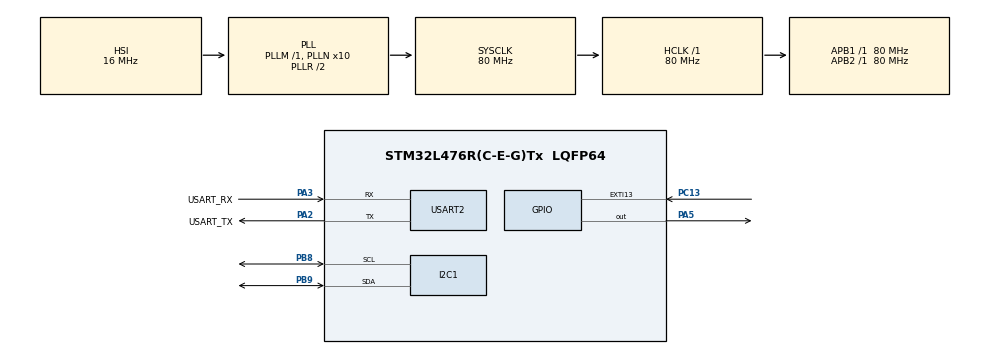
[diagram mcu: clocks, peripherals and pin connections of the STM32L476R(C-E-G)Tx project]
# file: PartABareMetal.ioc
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I2C1.Timing=0x10D19CE4
Mcu.Family=STM32L4
Mcu.Name=STM32L476R(C-E-G)Tx
Mcu.Package=LQFP64
NUCLEO-L476RG.BUTTON=1
NUCLEO-L476RG.LD2=true
NVIC.EXTI15_10_IRQn=true\:0\:0\:false\:false\:true\:false\:true\:true
NVIC.PriorityGroup=NVIC_PRIORITYGROUP_4
PA13\ (JTMS-SWDIO).GPIO_Label=TMS
PA13\ (JTMS-SWDIO).Signal=SYS_JTMS-SWDIO
PA14\ (JTCK-SWCLK).GPIO_Label=TCK
PA14\ (JTCK-SWCLK).Signal=SYS_JTCK-SWCLK
PA2.GPIO_Label=USART_TX
PA2.GPIO_Mode=GPIO_MODE_AF_PP
PA2.GPIO_PuPd=GPIO_NOPULL
PA2.GPIO_Speed=GPIO_SPEED_FREQ_VERY_HIGH
PA2.Mode=Asynchronous
PA2.Signal=USART2_TX
PA3.GPIO_Label=USART_RX
PA3.GPIO_Mode=GPIO_MODE_AF_PP
PA3.GPIO_PuPd=GPIO_NOPULL
PA3.GPIO_Speed=GPIO_SPEED_FREQ_VERY_HIGH
PA3.Mode=Asynchronous
PA3.Signal=USART2_RX
PA5.Signal=GPIO_Output
PB3\ (JTDO-TRACESWO).GPIO_Label=SWO
PB3\ (JTDO-TRACESWO).Signal=SYS_JTDO-SWO
PB8.Mode=I2C
PB8.Signal=I2C1_SCL
PB9.Mode=I2C
PB9.Signal=I2C1_SDA
PC13.Signal=GPXTI13
PC14-OSC32_IN\ (PC14).Signal=RCC_OSC32_IN
PC15-OSC32_OUT\ (PC15).Signal=RCC_OSC32_OUT
PH0-OSC_IN\ (PH0).Signal=RCC_OSC_IN
PH1-OSC_OUT\ (PH1).Signal=RCC_OSC_OUT
ProjectManager.HeapSize=0x200
ProjectManager.StackSize=0x400
ProjectManager.TargetToolchain=CMake
RCC.ADCFreq_Value=64000000
RCC.AHBFreq_Value=80000000
RCC.APB1Freq_Value=80000000
RCC.APB1TimFreq_Value=80000000
RCC.APB2Freq_Value=80000000
RCC.APB2TimFreq_Value=80000000
RCC.CortexFreq_Value=80000000
RCC.HCLKFreq_Value=80000000
RCC.HSE_VALUE=8000000
RCC.HSI_VALUE=16000000
RCC.LSE_VALUE=32768
RCC.MSI_VALUE=4000000
RCC.PLLN=10
RCC.PLLSourceVirtual=RCC_PLLSOURCE_HSI
RCC.PREFETCH_ENABLE=1
RCC.SYSCLKFreq_VALUE=80000000
RCC.SYSCLKSource=RCC_SYSCLKSOURCE_PLLCLK
RCC.USBFreq_Value=64000000
RCC.VCOOutputFreq_Value=160000000
USART2.VirtualMode-Asynchronous=VM_ASYNC
VP_NUCLEO-L476RG_VS_BSP_COMMON.Mode=COMMON
board=NUCLEO-L476RG

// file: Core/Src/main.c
/* USER CODE BEGIN Header */
/**
  ******************************************************************************
  * @file           : main.c
  * @brief          : Main program body
  ******************************************************************************
  * @attention
  *
  * Copyright (c) 2026 STMicroelectronics.
  * All rights reserved.
  *
  * This software is licensed under terms that can be found in the LICENSE file
  * in the root directory of this software component.
  * If no LICENSE file comes with this software, it is provided AS-IS.
  *
  ******************************************************************************
  */
/* USER CODE END Header */
#include "main.h"

/* USER CODE BEGIN Includes */
#include <stdio.h>
#include <string.h>
/* USER CODE END Includes */

/* USER CODE BEGIN PD */
#define TMP3_ADDR 0x48 << 1 // I2C address of TMP3 sensor
#define REG_TEMP 0x00      // Register address for temperature data
#define TMP3_RESOLUTION 0.0625f // Temperature resolution in °C/bit
/* USER CODE END PD */

I2C_HandleTypeDef hi2c1;

UART_HandleTypeDef huart2;

void SystemClock_Config(void);
static void MX_GPIO_Init(void);
static void MX_I2C1_Init(void);
static void MX_USART2_UART_Init(void);
/* USER CODE BEGIN PFP */
float TEMP3_ReadTemp(void);
/* USER CODE END PFP */

int main(void)
{

  /* MCU Configuration--------------------------------------------------------*/

  /* Reset of all peripherals, Initializes the Flash interface and the Systick. */
  HAL_Init();

  /* Configure the system clock */
  SystemClock_Config();

  /* Initialize all configured peripherals */
  MX_GPIO_Init();
  MX_I2C1_Init();
  MX_USART2_UART_Init();

  /* Initialize leds */
  BSP_LED_Init(LED_GREEN);

  /* Initialize USER push-button, will be used to trigger an interrupt each time it's pressed.*/
  BSP_PB_Init(BUTTON_USER, BUTTON_MODE_EXTI);

  /* Infinite loop */
  /* USER CODE BEGIN WHILE */
  float temp_c;
  char buf[50];
  while (1)
  {

    /* USER CODE END WHILE */

    temp_c = TEMP3_ReadTemp();
    sprintf(buf, "Temperature: %.2f C\r\n", temp_c);
    HAL_UART_Transmit(&huart2, (uint8_t*)buf, strlen(buf), HAL_MAX_DELAY);
    HAL_Delay(1000); // Wait for 1 second

  }
}

void SystemClock_Config(void)
{
  RCC_OscInitTypeDef RCC_OscInitStruct = {0};
  RCC_ClkInitTypeDef RCC_ClkInitStruct = {0};

  /** Configure the main internal regulator output voltage
  */
  if (HAL_PWREx_ControlVoltageScaling(PWR_REGULATOR_VOLTAGE_SCALE1) != HAL_OK)
  {
    Error_Handler();
  }

  /** Initializes the RCC Oscillators according to the specified parameters
  * in the RCC_OscInitTypeDef structure.
  */
  RCC_OscInitStruct.OscillatorType = RCC_OSCILLATORTYPE_HSI;
  RCC_OscInitStruct.HSIState = RCC_HSI_ON;
  RCC_OscInitStruct.HSICalibrationValue = RCC_HSICALIBRATION_DEFAULT;
  RCC_OscInitStruct.PLL.PLLState = RCC_PLL_ON;
  RCC_OscInitStruct.PLL.PLLSource = RCC_PLLSOURCE_HSI;
  RCC_OscInitStruct.PLL.PLLM = 1;
  RCC_OscInitStruct.PLL.PLLN = 10;
  RCC_OscInitStruct.PLL.PLLP = RCC_PLLP_DIV7;
  RCC_OscInitStruct.PLL.PLLQ = RCC_PLLQ_DIV2;
  RCC_OscInitStruct.PLL.PLLR = RCC_PLLR_DIV2;
  if (HAL_RCC_OscConfig(&RCC_OscInitStruct) != HAL_OK)
  {
    Error_Handler();
  }

  /** Initializes the CPU, AHB and APB buses clocks
  */
  RCC_ClkInitStruct.ClockType = RCC_CLOCKTYPE_HCLK|RCC_CLOCKTYPE_SYSCLK
                              |RCC_CLOCKTYPE_PCLK1|RCC_CLOCKTYPE_PCLK2;
  RCC_ClkInitStruct.SYSCLKSource = RCC_SYSCLKSOURCE_PLLCLK;
  RCC_ClkInitStruct.AHBCLKDivider = RCC_SYSCLK_DIV1;
  RCC_ClkInitStruct.APB1CLKDivider = RCC_HCLK_DIV1;
  RCC_ClkInitStruct.APB2CLKDivider = RCC_HCLK_DIV1;

  if (HAL_RCC_ClockConfig(&RCC_ClkInitStruct, FLASH_LATENCY_4) != HAL_OK)
  {
    Error_Handler();
  }
}

static void MX_I2C1_Init(void)
{

  hi2c1.Instance = I2C1;
  hi2c1.Init.Timing = 0x10D19CE4;
  hi2c1.Init.OwnAddress1 = 0;
  hi2c1.Init.AddressingMode = I2C_ADDRESSINGMODE_7BIT;
  hi2c1.Init.DualAddressMode = I2C_DUALADDRESS_DISABLE;
  hi2c1.Init.OwnAddress2 = 0;
  hi2c1.Init.OwnAddress2Masks = I2C_OA2_NOMASK;
  hi2c1.Init.GeneralCallMode = I2C_GENERALCALL_DISABLE;
  hi2c1.Init.NoStretchMode = I2C_NOSTRETCH_DISABLE;
  if (HAL_I2C_Init(&hi2c1) != HAL_OK)
  {
    Error_Handler();
  }

  /** Configure Analogue filter
  */
  if (HAL_I2CEx_ConfigAnalogFilter(&hi2c1, I2C_ANALOGFILTER_ENABLE) != HAL_OK)
  {
    Error_Handler();
  }

  /** Configure Digital filter
  */
  if (HAL_I2CEx_ConfigDigitalFilter(&hi2c1, 0) != HAL_OK)
  {
    Error_Handler();
  }

}

static void MX_USART2_UART_Init(void)
{

  huart2.Instance = USART2;
  huart2.Init.BaudRate = 115200;
  huart2.Init.WordLength = UART_WORDLENGTH_8B;
  huart2.Init.StopBits = UART_STOPBITS_1;
  huart2.Init.Parity = UART_PARITY_NONE;
  huart2.Init.Mode = UART_MODE_TX_RX;
  huart2.Init.HwFlowCtl = UART_HWCONTROL_NONE;
  huart2.Init.OverSampling = UART_OVERSAMPLING_16;
  huart2.Init.OneBitSampling = UART_ONE_BIT_SAMPLE_DISABLE;
  huart2.AdvancedInit.AdvFeatureInit = UART_ADVFEATURE_NO_INIT;
  if (HAL_UART_Init(&huart2) != HAL_OK)
  {
    Error_Handler();
  }

}

static void MX_GPIO_Init(void)
{

  /* GPIO Ports Clock Enable */
  __HAL_RCC_GPIOC_CLK_ENABLE();
  __HAL_RCC_GPIOH_CLK_ENABLE();
  __HAL_RCC_GPIOA_CLK_ENABLE();
  __HAL_RCC_GPIOB_CLK_ENABLE();

}

/* USER CODE BEGIN 4 */
float TEMP3_ReadTemp(void)

{

  HAL_StatusTypeDef ret;

  uint8_t buf[2];

  int16_t val;

  float temp_c;

  /* TODO:
  Declare the following using #define or constant
  -
  I2C device address (define as TMP3_ADDR)
  -
  Temperature register address (define as REG_TEMP)
  */

  // Specify which register is to be read
  buf[0] = REG_TEMP;
  ret = HAL_I2C_Master_Transmit(&hi2c1,TMP3_ADDR,buf,1,HAL_MAX_DELAY);

  if (ret != HAL_OK)

  {
    return -999.0f;
    // communication error with sensor
  }

  // Read two bytes from the temperature register
  ret = HAL_I2C_Master_Receive(&hi2c1,

                               TMP3_ADDR,

                               buf,

                               2,

                               HAL_MAX_DELAY);

  if (ret != HAL_OK)
  {
    return -999.0f;
  }

  /* TODO:
  Convert the bytes read into absolute values and print */
  // combine the bytes into val
  val = (uint16_t)buf[0] << 8 | buf[1];
  // Convert to 2's complement, since temperature can be negative
  if (val & 0x8000)
  {
    val = -((val ^ 0xFFFF) + 1);
  }

  // Convert the sensor output into absolute values using temperature resolution(°C / bit)

  temp_c = val/256.0f;

  //sprintf((char*)buf,"%u.%u C\r\n",((unsigned int)temp_c / 100),((unsigned int)temp_c % 100));
  return temp_c;
}
/* USER CODE END 4 */

void Error_Handler(void)
{
  __disable_irq();
  while (1)
  {
  }
}
